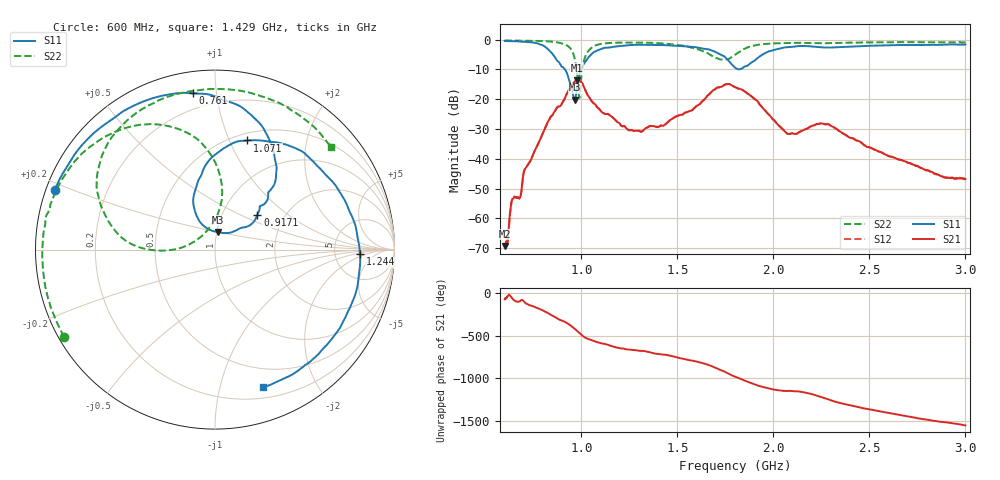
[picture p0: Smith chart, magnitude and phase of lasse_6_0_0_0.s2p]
#  HZ  S  RI  R  50.00
! Rohde & Schwarz ZVB8 2Ports - Version 2.81 - 1145.1010k08 SN: 100113
! Date: 2016-05-04 02:48:42
! Measurements: S11 S21 S12 S22
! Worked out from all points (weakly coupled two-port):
!   1000 points, 600 MHz to 3 GHz, reference 50 ohm
!   highest |S21| = -13.61 dB at 977.2 MHz (marker M1); lowest = -69.2 dB at 602.4 MHz (marker M2)
!   lowest |S11| = -20.1 dB at 965.2 MHz (marker M3), VSWR 1.22, Z = 50.5 + j9.94 ohm
!   |S11| at or under -10 dB: 914.3 MHz to 997.4 MHz (83.06 MHz wide, 8.69 % of centre)
!   |S22| runs from -19.6 to -0.3 dB; largest |S21 - S12| = 0.0027
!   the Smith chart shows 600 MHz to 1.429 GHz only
!   S11 on the Smith chart (normalised r, x): 600 MHz: 0.03, +0.18; 761 MHz: 0.11, +0.86; 917.1 MHz: 1.46, +0.63; 1.071 GHz: 0.57, +1.17; 1.244 GHz: 9.23, -1.37; 1.429 GHz: 0.30, -1.36
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6e8  -0.8934 0.3301  6.64e-05 -0.000342  0.000156 -0.000328  -0.8402 -0.4864
6.024024e8  -0.8884 0.3423  0.000137 -0.000319  0.000111 -0.000325  -0.8448 -0.4778
6.408408e8  -0.784 0.5278  0.00069 -0.00197  0.000672 -0.00204  -0.9069 -0.3409
7.60961e8  -0.1213 0.8708  -0.0144 -0.00192  -0.0143 -0.00203  -0.9483 0.1279
8.33033e8  0.3189 0.5772  -0.0169 0.0429  -0.017 0.0426  -0.8369 0.4144
9.171171e8  0.2367 0.1952  0.1073 0.0299  0.1069 0.0304  -0.4511 0.6899
9.651652e8  0.0143 0.0976  0.092 -0.174  0.0926 -0.1735  0.00253 0.483
9.771772e8  -0.0708 0.1388  0.0101 -0.2085  0.0113 -0.208  0.0374 0.276
1.001201e9  -0.1135 0.3197  -0.1318 -0.1381  -0.1306 -0.1389  -0.2649 -0.00447
1.070871e9  0.1794 0.608  -0.073 0.0397  -0.0731 0.0392  -0.6478 0.4578
1.243844e9  0.8079 -0.0258  0.0165 0.026  0.0164 0.026  -0.0232 0.8952
1.4e9  0.395 -0.7134  0.0341 0.00353  0.0342 0.00364  0.5692 0.6653
1.428829e9  0.2658 -0.7666  0.0362 -0.00143  0.0361 -0.00132  0.6465 0.5692
1.654655e9  -0.5826 -0.3765  -0.0507 -0.101  -0.0501 -0.1015  0.5628 -0.2056
1.801201e9  -0.3364 -0.0125  -0.027 0.1578  -0.0282 0.1573  0.5397 -0.1557
1.918919e9  -0.4786 -0.1254  0.0915 -0.00366  0.0912 -0.00282  0.5665 -0.5947
2.039039e9  -0.6607 0.2781  0.0162 -0.0294  0.0164 -0.0293  0.1791 -0.8567
2.2e9  -0.2041 0.7417  -0.00711 -0.0349  -0.00683 -0.0349  -0.3326 -0.813
2.38979e9  0.4566 0.6089  -0.016 0.0174  -0.0162 0.0172  -0.7227 -0.5216
2.601201e9  0.7889 -0.172  0.00863 0.00704  0.00855 0.00714  -0.9043 -0.0532
2.803003e9  0.2481 -0.777  0.00492 -0.00414  0.00498 -0.0041  -0.812 0.4009
3e9  -0.4647 -0.6846  -0.00131 -0.00437  -0.00125 -0.00436  -0.5153 0.7344
